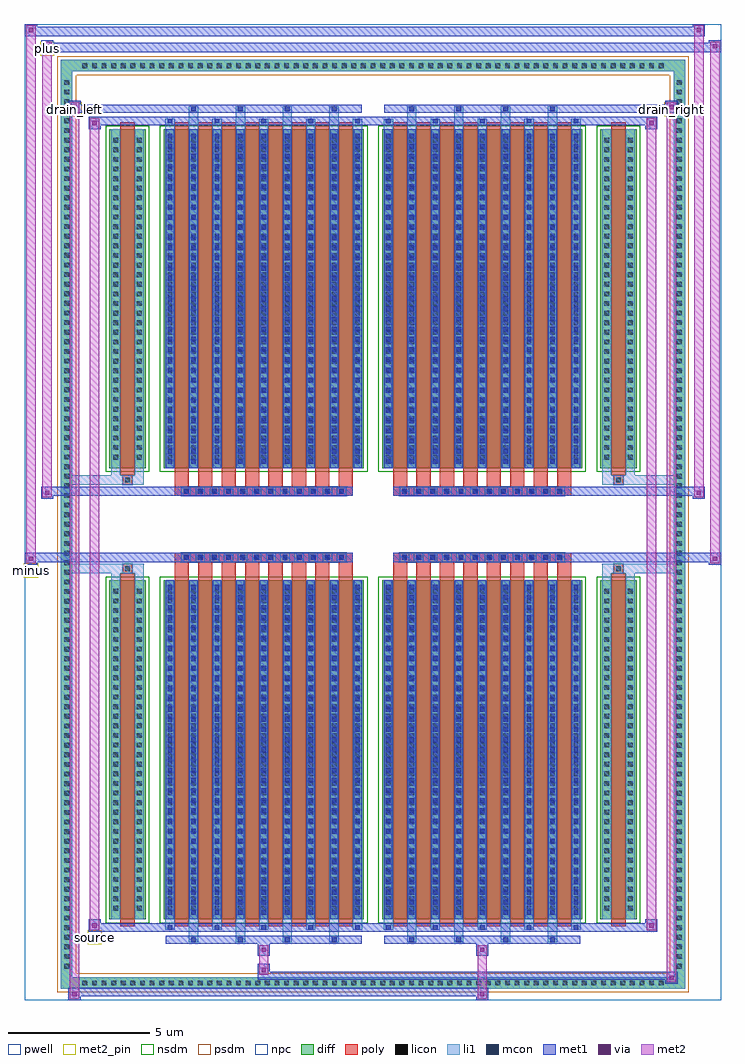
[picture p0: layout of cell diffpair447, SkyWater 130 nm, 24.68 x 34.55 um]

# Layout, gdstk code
import gdstk
lib = gdstk.Library(unit=1e-6, precision=5e-09)
def R(c, l, rs):  # rectangles x0, y0, x1, y1
    for r in rs: c.add(gdstk.rectangle(r[:2], r[2:], *l))
def A(c, l, x, y, w, h, nx, ny, dx, dy):  # array of equal rectangles
    R(c, l, [(x+i*dx, y+j*dy, x+i*dx+w, y+j*dy+h) for i in range(nx) for j in range(ny)])
def P(c, l, *ps):  # polygons
    for p in ps: c.add(gdstk.Polygon(p, *l))
pwell = (64, 44)
diff = (65, 20)
poly = (66, 20)
licon = (66, 44)
li1 = (67, 20)
mcon = (67, 44)
met1 = (68, 20)
via = (68, 44)
met2_pin = (69, 16)
met2 = (69, 20)
nsdm = (93, 44)
psdm = (94, 20)
npc = (95, 20)

diffpair447 = lib.new_cell('diffpair447')
R(diffpair447, pwell, [(-12.32,-16.84,12.32,17.71), (-9.64,-15.03,-0.01,-0.805), (0.01,-15.03,9.64,-0.805), (-9.64,0.805,-0.01,15.03), (0.01,0.805,9.64,15.03)])
A(diffpair447, diff, -10.405, -16.44, 0.41, 0.41, 61, 2, 0.34, 32.47)
A(diffpair447, diff, -11.05, -15.845, 0.41, 0.41, 1, 93, 0, 0.34)
A(diffpair447, diff, 10.64, -15.845, 0.41, 0.41, 1, 93, 0, 0.34)
R(diffpair447, diff, [(-10.405,-16.44,10.405,-16.03), (-11.05,-15.845,-10.64,15.845), (10.64,-15.845,11.05,15.845), (-9.33,-13.985,-8.05,-1.985), (-7.41,-13.985,-0.32,-1.985), (0.32,-13.985,7.41,-1.985), (8.05,-13.985,9.33,-1.985), (-9.33,1.985,-8.05,13.985), (-7.41,1.985,-0.32,13.985), (0.32,1.985,7.41,13.985), (8.05,1.985,9.33,13.985), (-10.405,16.03,10.405,16.44)])
P(diffpair447, diff, [(11.05,16.44),(-11.05,16.44),(-11.05,-16.03),(-10.64,-16.03),(-10.64,16.03),(10.64,16.03),(10.64,-16.03),(-10.64,-16.03),(-11.05,-16.03),(-11.05,-16.44),(11.05,-16.44)])
A(diffpair447, poly, -7.02, -14.235, 0.5, 12.5, 8, 2, 0.83, 15.97)
A(diffpair447, poly, 0.71, -14.235, 0.5, 12.5, 8, 2, 0.83, 15.97)
A(diffpair447, poly, -7.02, -1.735, 0.5, 0.4, 8, 2, 0.83, 3.07)
A(diffpair447, poly, 0.71, -1.735, 0.5, 0.4, 8, 2, 0.83, 3.07)
A(diffpair447, poly, -6.78, -1.335, 0.33, 0.33, 12, 2, 0.5, 2.34)
A(diffpair447, poly, 0.95, -1.335, 0.33, 0.33, 12, 2, 0.5, 2.34)
R(diffpair447, poly, [(-8.94,-14.235,-8.44,-1.735), (8.44,-14.235,8.94,-1.735), (-8.855,-1.735,-8.525,-1.405), (-8.855,-1.735,-8.525,-1.405), (8.525,-1.735,8.855,-1.405), (8.525,-1.735,8.855,-1.405), (-7.02,-1.335,-0.71,-1.005), (0.71,-1.335,7.02,-1.005), (-7.02,1.005,-0.71,1.335), (0.71,1.005,7.02,1.335), (-8.855,1.405,-8.525,1.735), (-8.855,1.405,-8.525,1.735), (8.525,1.405,8.855,1.735), (8.525,1.405,8.855,1.735), (-8.94,1.735,-8.44,14.235), (8.44,1.735,8.94,14.235)])
A(diffpair447, licon, -10.285, -16.32, 0.17, 0.17, 61, 2, 0.34, 32.47)
A(diffpair447, licon, -10.93, -15.725, 0.17, 0.17, 1, 93, 0, 0.34)
A(diffpair447, licon, 10.76, -15.725, 0.17, 0.17, 1, 93, 0, 0.34)
A(diffpair447, licon, -9.19, -13.68, 0.17, 0.17, 1, 34, 0, 0.34)
A(diffpair447, licon, -8.36, -13.68, 0.17, 0.17, 1, 34, 0, 0.34)
A(diffpair447, licon, -7.27, -13.68, 0.17, 0.17, 9, 34, 0.83, 0.34)
A(diffpair447, licon, 0.46, -13.68, 0.17, 0.17, 9, 34, 0.83, 0.34)
A(diffpair447, licon, 8.19, -13.68, 0.17, 0.17, 1, 34, 0, 0.34)
A(diffpair447, licon, 9.02, -13.68, 0.17, 0.17, 1, 34, 0, 0.34)
A(diffpair447, licon, -6.7, -1.255, 0.17, 0.17, 12, 2, 0.5, 2.34)
A(diffpair447, licon, 1.03, -1.255, 0.17, 0.17, 12, 2, 0.5, 2.34)
A(diffpair447, licon, -9.19, 2.29, 0.17, 0.17, 1, 34, 0, 0.34)
A(diffpair447, licon, -8.36, 2.29, 0.17, 0.17, 1, 34, 0, 0.34)
A(diffpair447, licon, -7.27, 2.29, 0.17, 0.17, 9, 34, 0.83, 0.34)
A(diffpair447, licon, 0.46, 2.29, 0.17, 0.17, 9, 34, 0.83, 0.34)
A(diffpair447, licon, 8.19, 2.29, 0.17, 0.17, 1, 34, 0, 0.34)
A(diffpair447, licon, 9.02, 2.29, 0.17, 0.17, 1, 34, 0, 0.34)
R(diffpair447, licon, [(-8.775,-1.655,-8.605,-1.485), (8.605,-1.655,8.775,-1.485), (-8.775,1.485,-8.605,1.655), (8.605,1.485,8.775,1.655)])
A(diffpair447, li1, -10.365, -16.4, 0.33, 0.33, 61, 2, 0.34, 32.47)
A(diffpair447, li1, -11.01, -15.805, 0.33, 0.33, 1, 93, 0, 0.34)
A(diffpair447, li1, 10.68, -15.805, 0.33, 0.33, 1, 93, 0, 0.34)
A(diffpair447, li1, -6.52, -14.79, 0.33, 0.805, 4, 2, 1.66, 28.775)
A(diffpair447, li1, -6.44, -14.79, 0.17, 0.17, 4, 2, 1.66, 29.41)
A(diffpair447, li1, 1.21, -14.79, 0.33, 0.805, 4, 2, 1.66, 28.775)
A(diffpair447, li1, 1.29, -14.79, 0.17, 0.17, 4, 2, 1.66, 29.41)
A(diffpair447, li1, -7.35, -14.36, 0.33, 0.375, 5, 2, 1.66, 28.345)
A(diffpair447, li1, -7.27, -14.36, 0.17, 0.17, 5, 2, 1.66, 28.55)
A(diffpair447, li1, 0.38, -14.36, 0.33, 0.375, 5, 2, 1.66, 28.345)
A(diffpair447, li1, 0.46, -14.36, 0.17, 0.17, 5, 2, 1.66, 28.55)
A(diffpair447, li1, -7.35, -13.985, 0.33, 12, 9, 2, 0.83, 15.97)
A(diffpair447, li1, 0.38, -13.985, 0.33, 12, 9, 2, 0.83, 15.97)
A(diffpair447, li1, -7.27, -13.83, 0.17, 0.17, 9, 33, 0.83, 0.36)
A(diffpair447, li1, -7.27, -13.83, 0.17, 11.69, 9, 2, 0.83, 15.97)
A(diffpair447, li1, 0.46, -13.83, 0.17, 0.17, 9, 33, 0.83, 0.36)
A(diffpair447, li1, 0.46, -13.83, 0.17, 11.69, 9, 2, 0.83, 15.97)
A(diffpair447, li1, -9.27, -13.76, 0.33, 0.33, 1, 34, 0, 0.34)
A(diffpair447, li1, -8.44, -13.76, 0.33, 0.33, 1, 34, 0, 0.34)
A(diffpair447, li1, -7.35, -13.76, 0.33, 0.33, 9, 34, 0.83, 0.34)
A(diffpair447, li1, 0.38, -13.76, 0.33, 0.33, 9, 34, 0.83, 0.34)
A(diffpair447, li1, 8.11, -13.76, 0.33, 0.33, 1, 34, 0, 0.34)
A(diffpair447, li1, 8.94, -13.76, 0.33, 0.33, 1, 34, 0, 0.34)
A(diffpair447, li1, -6.78, -1.335, 0.33, 0.33, 12, 2, 0.5, 2.34)
A(diffpair447, li1, 0.95, -1.335, 0.33, 0.33, 12, 2, 0.5, 2.34)
A(diffpair447, li1, -7.27, 2.14, 0.17, 0.17, 9, 33, 0.83, 0.36)
A(diffpair447, li1, 0.46, 2.14, 0.17, 0.17, 9, 33, 0.83, 0.36)
A(diffpair447, li1, -9.27, 2.21, 0.33, 0.33, 1, 34, 0, 0.34)
A(diffpair447, li1, -8.44, 2.21, 0.33, 0.33, 1, 34, 0, 0.34)
A(diffpair447, li1, -7.35, 2.21, 0.33, 0.33, 9, 34, 0.83, 0.34)
A(diffpair447, li1, 0.38, 2.21, 0.33, 0.33, 9, 34, 0.83, 0.34)
A(diffpair447, li1, 8.11, 2.21, 0.33, 0.33, 1, 34, 0, 0.34)
A(diffpair447, li1, 8.94, 2.21, 0.33, 0.33, 1, 34, 0, 0.34)
R(diffpair447, li1, [(-11.05,-16.44,-10.64,-16.03), (-11.05,-16.44,-10.64,-16.03), (-10.64,-16.44,10.64,-16.03), (10.64,-16.44,11.05,-16.03), (10.64,-16.44,11.05,-16.03), (-11.05,-16.03,-10.64,16.03), (10.64,-16.03,11.05,16.03), (-9.27,-13.985,-8.94,-1.985), (-8.44,-13.985,-8.11,-1.985), (8.11,-13.985,8.44,-1.985), (8.94,-13.985,9.27,-1.985), (-9.27,-1.985,-8.94,-1.405), (-8.44,-1.985,-8.11,-1.405), (8.11,-1.985,8.44,-1.405), (8.94,-1.985,9.27,-1.405), (-11.05,-1.735,-8.855,-1.405), (-9.27,-1.735,-8.855,-1.405), (-8.855,-1.735,-8.525,-1.405), (-8.525,-1.735,-8.11,-1.405), (8.11,-1.735,8.525,-1.405), (8.525,-1.735,8.855,-1.405), (8.525,-1.735,11.05,-1.405), (8.855,-1.735,9.27,-1.405), (-11.05,1.405,-8.855,1.735), (-9.27,1.405,-8.855,1.735), (-9.27,1.405,-8.94,1.985), (-8.855,1.405,-8.525,1.735), (-8.525,1.405,-8.11,1.735), (-8.44,1.405,-8.11,1.985), (8.11,1.405,8.525,1.735), (8.11,1.405,8.44,1.985), (8.525,1.405,8.855,1.735), (8.525,1.405,11.05,1.735), (8.855,1.405,9.27,1.735), (8.94,1.405,9.27,1.985), (-9.27,1.985,-8.94,13.985), (-8.44,1.985,-8.11,13.985), (8.11,1.985,8.44,13.985), (8.94,1.985,9.27,13.985), (-11.05,16.03,-10.64,16.44), (-11.05,16.03,-10.64,16.44), (-10.64,16.03,10.64,16.44), (10.64,16.03,11.05,16.44), (10.64,16.03,11.05,16.44)])
A(diffpair447, mcon, -6.44, -14.79, 0.17, 0.17, 4, 2, 1.66, 29.41)
A(diffpair447, mcon, 1.29, -14.79, 0.17, 0.17, 4, 2, 1.66, 29.41)
A(diffpair447, mcon, -7.27, -14.36, 0.17, 0.17, 5, 2, 1.66, 28.55)
A(diffpair447, mcon, 0.46, -14.36, 0.17, 0.17, 5, 2, 1.66, 28.55)
A(diffpair447, mcon, -7.27, -13.83, 0.17, 0.17, 9, 33, 0.83, 0.36)
A(diffpair447, mcon, 0.46, -13.83, 0.17, 0.17, 9, 33, 0.83, 0.36)
A(diffpair447, mcon, -6.7, -1.255, 0.17, 0.17, 12, 2, 0.5, 2.34)
A(diffpair447, mcon, 1.03, -1.255, 0.17, 0.17, 12, 2, 0.5, 2.34)
A(diffpair447, mcon, -7.27, 2.14, 0.17, 0.17, 9, 33, 0.83, 0.36)
A(diffpair447, mcon, 0.46, 2.14, 0.17, 0.17, 9, 33, 0.83, 0.36)
A(diffpair447, met1, -6.5, -14.85, 0.29, 0.29, 4, 2, 1.66, 29.41)
A(diffpair447, met1, 1.23, -14.85, 0.29, 0.29, 4, 2, 1.66, 29.41)
A(diffpair447, met1, -7.33, -14.42, 0.29, 0.29, 5, 2, 1.66, 28.55)
A(diffpair447, met1, 0.4, -14.42, 0.29, 0.29, 5, 2, 1.66, 28.55)
A(diffpair447, met1, -7.33, -13.985, 0.29, 12, 9, 2, 0.83, 15.97)
A(diffpair447, met1, 0.4, -13.985, 0.29, 12, 9, 2, 0.83, 15.97)
A(diffpair447, met1, -7.33, -13.89, 0.29, 0.29, 9, 33, 0.83, 0.36)
A(diffpair447, met1, 0.4, -13.89, 0.29, 0.29, 9, 33, 0.83, 0.36)
A(diffpair447, met1, -6.76, -1.315, 0.29, 0.29, 12, 2, 0.5, 2.34)
A(diffpair447, met1, 0.97, -1.315, 0.29, 0.29, 12, 2, 0.5, 2.34)
A(diffpair447, met1, -7.33, 2.08, 0.29, 0.29, 9, 33, 0.83, 0.36)
A(diffpair447, met1, 0.4, 2.08, 0.29, 0.29, 9, 33, 0.83, 0.36)
R(diffpair447, met1, [(-10.78,-16.84,-10.35,-16.41), (3.65,-16.84,4.08,-16.41), (-10.78,-16.7,4.08,-16.41), (10.35,-16.27,10.78,-15.84), (-4.08,-16.13,10.78,-15.84), (-4.08,-15.99,-3.65,-15.56), (-4.08,-15.28,-3.65,-14.85), (3.65,-15.28,4.08,-14.85), (-7.33,-14.85,-0.4,-14.56), (0.4,-14.85,7.33,-14.56), (-10.07,-14.42,-9.64,-13.99), (-10.07,-14.42,-7.33,-14.13), (-7.33,-14.42,-0.4,-14.13), (-0.4,-14.42,0.4,-14.13), (0.4,-14.42,7.33,-14.13), (7.33,-14.42,10.07,-14.13), (9.64,-14.42,10.07,-13.99), (-12.32,-1.435,-11.89,-1.005), (11.89,-1.435,12.32,-1.005), (-12.32,-1.335,-0.71,-1.005), (-7.02,-1.335,-0.71,-1.005), (0.71,-1.335,7.02,-1.005), (0.71,-1.335,12.32,-1.005), (-11.75,0.905,-11.32,1.335), (11.32,0.905,11.75,1.335), (-11.75,1.005,-7.02,1.335), (-7.02,1.005,-0.71,1.335), (0.71,1.005,7.02,1.335), (7.02,1.005,11.75,1.335), (-10.07,13.99,-9.64,14.42), (9.64,13.99,10.07,14.42), (-10.07,14.13,-7.33,14.42), (-7.33,14.13,-0.4,14.42), (-0.4,14.13,0.4,14.42), (0.4,14.13,7.33,14.42), (7.33,14.13,10.07,14.42), (-10.78,14.56,-10.35,14.99), (-10.78,14.56,-7.33,14.85), (-7.33,14.56,-0.4,14.85), (0.4,14.56,7.33,14.85), (7.33,14.56,10.78,14.85), (10.35,14.56,10.78,14.99), (-11.75,16.71,-11.32,17.14), (-11.75,16.71,-9.64,17.04), (-9.64,16.71,9.64,17.04), (9.64,16.71,12.32,17.04), (11.89,16.71,12.32,17.14), (-12.32,17.28,-11.89,17.71), (-12.32,17.28,-9.64,17.61), (-9.64,17.28,9.64,17.61), (9.64,17.28,11.75,17.61), (11.32,17.28,11.75,17.71)])
R(diffpair447, via, [(-10.64,-16.7,-10.49,-16.55), (3.79,-16.7,3.94,-16.55), (10.49,-16.13,10.64,-15.98), (-3.94,-15.85,-3.79,-15.7), (-3.94,-15.14,-3.79,-14.99), (3.79,-15.14,3.94,-14.99), (-9.93,-14.28,-9.78,-14.13), (9.78,-14.28,9.93,-14.13), (-12.18,-1.295,-12.03,-1.145), (12.03,-1.295,12.18,-1.145), (-11.61,1.045,-11.46,1.195), (11.46,1.045,11.61,1.195), (-9.93,14.13,-9.78,14.28), (9.78,14.13,9.93,14.28), (-10.64,14.7,-10.49,14.85), (10.49,14.7,10.64,14.85), (-11.61,16.85,-11.46,17), (12.03,16.85,12.18,17), (-12.18,17.42,-12.03,17.57), (11.46,17.42,11.61,17.57)])
R(diffpair447, met2_pin, [(-10.105,-14.87,-9.605,-14.37), (-12.355,-1.885,-11.855,-1.385), (-10.815,14.44,-10.315,14.94), (10.315,14.44,10.815,14.94), (-11.785,16.59,-11.285,17.09)])
R(diffpair447, met2, [(-10.73,-16.79,-10.4,-16.46), (-10.73,-16.79,-10.4,14.94), (3.7,-16.79,4.03,-16.46), (3.7,-16.46,4.03,-15.23), (10.4,-16.22,10.73,-15.89), (10.4,-16.22,10.73,14.94), (-4.03,-15.94,-3.7,-15.61), (-4.03,-15.61,-3.7,-15.23), (-4.03,-15.23,-3.7,-14.9), (3.7,-15.23,4.03,-14.9), (-10.02,-14.37,-9.69,-14.04), (-10.02,-14.37,-9.69,14.37), (9.69,-14.37,10.02,-14.04), (9.69,-14.37,10.02,14.37), (-12.27,-1.385,-11.94,-1.055), (-12.27,-1.385,-11.94,17.66), (11.94,-1.385,12.27,-1.055), (11.94,-1.385,12.27,17.09), (-11.7,0.955,-11.37,1.285), (-11.7,0.955,-11.37,17.09), (11.37,0.955,11.7,1.285), (11.37,0.955,11.7,17.66), (-10.02,14.04,-9.69,14.37), (9.69,14.04,10.02,14.37), (-10.73,14.61,-10.4,14.94), (10.4,14.61,10.73,14.94), (-11.7,16.76,-11.37,17.09), (11.94,16.76,12.27,17.09), (-12.27,17.33,-11.94,17.66), (11.37,17.33,11.7,17.66)])
P(diffpair447, met2, [(12.27,-1.385),(12.27,-1.385),(12.27,-1.055),(12.27,-1.055)],
  [(12.27,16.76),(12.27,16.76),(12.27,17.09),(12.27,17.09)],
  [(-11.94,-1.385),(-11.94,-1.385),(-11.94,-1.055),(-11.94,-1.055)],
  [(-11.94,17.33),(-11.94,17.33),(-11.94,17.66),(-11.94,17.66)],
  [(11.7,0.955),(11.7,0.955),(11.7,1.285),(11.7,1.285)],
  [(11.7,17.33),(11.7,17.33),(11.7,17.66),(11.7,17.66)],
  [(-11.37,0.955),(-11.37,0.955),(-11.37,1.285),(-11.37,1.285)],
  [(-11.37,16.76),(-11.37,16.76),(-11.37,17.09),(-11.37,17.09)],
  [(-10.4,-16.79),(-10.4,-16.79),(-10.4,-16.46),(-10.4,-16.46)],
  [(-10.4,14.61),(-10.4,14.61),(-10.4,14.94),(-10.4,14.94)],
  [(10.73,-16.22),(10.73,-16.22),(10.73,-15.89),(10.73,-15.89)],
  [(10.73,14.61),(10.73,14.61),(10.73,14.94),(10.73,14.94)],
  [(-9.69,-14.37),(-9.69,-14.37),(-9.69,-14.04),(-9.69,-14.04)],
  [(-9.69,14.04),(-9.69,14.04),(-9.69,14.37),(-9.69,14.37)],
  [(10.02,-14.37),(10.02,-14.37),(10.02,-14.04),(10.02,-14.04)],
  [(10.02,14.04),(10.02,14.04),(10.02,14.37),(10.02,14.37)])
R(diffpair447, nsdm, [(-9.46,-14.115,-7.92,-1.855), (-7.54,-14.115,-0.19,-1.855), (0.19,-14.115,7.54,-1.855), (7.92,-14.115,9.46,-1.855), (-9.46,1.855,-7.92,14.115), (-7.54,1.855,-0.19,14.115), (0.19,1.855,7.54,14.115), (7.92,1.855,9.46,14.115)])
P(diffpair447, psdm, [(11.18,16.57),(-11.18,16.57),(-11.18,-15.9),(-10.51,-15.9),(-10.51,15.9),(10.51,15.9),(10.51,-15.9),(-10.51,-15.9),(-11.18,-15.9),(-11.18,-16.57),(11.18,-16.57)])
A(diffpair447, npc, -6.8, -1.355, 0.37, 0.37, 12, 2, 0.5, 2.34)
A(diffpair447, npc, 0.93, -1.355, 0.37, 0.37, 12, 2, 0.5, 2.34)
R(diffpair447, npc, [(-8.875,-1.755,-8.505,-1.385), (8.505,-1.755,8.875,-1.385), (-6.8,-1.355,-5.93,-0.985), (-6.8,-1.355,-5.93,-0.985), (-6.3,-1.355,-5.43,-0.985), (-6.3,-1.355,-5.43,-0.985), (-5.8,-1.355,-4.93,-0.985), (-5.8,-1.355,-4.93,-0.985), (-5.3,-1.355,-4.43,-0.985), (-5.3,-1.355,-4.43,-0.985), (-4.8,-1.355,-3.93,-0.985), (-4.8,-1.355,-3.93,-0.985), (-4.3,-1.355,-3.43,-0.985), (-4.3,-1.355,-3.43,-0.985), (-3.8,-1.355,-2.93,-0.985), (-3.8,-1.355,-2.93,-0.985), (-3.3,-1.355,-2.43,-0.985), (-3.3,-1.355,-2.43,-0.985), (-2.8,-1.355,-1.93,-0.985), (-2.8,-1.355,-1.93,-0.985), (-2.3,-1.355,-1.43,-0.985), (-2.3,-1.355,-1.43,-0.985), (-1.8,-1.355,-0.93,-0.985), (-1.8,-1.355,-0.93,-0.985), (0.93,-1.355,1.8,-0.985), (0.93,-1.355,1.8,-0.985), (1.43,-1.355,2.3,-0.985), (1.43,-1.355,2.3,-0.985), (1.93,-1.355,2.8,-0.985), (1.93,-1.355,2.8,-0.985), (2.43,-1.355,3.3,-0.985), (2.43,-1.355,3.3,-0.985), (2.93,-1.355,3.8,-0.985), (2.93,-1.355,3.8,-0.985), (3.43,-1.355,4.3,-0.985), (3.43,-1.355,4.3,-0.985), (3.93,-1.355,4.8,-0.985), (3.93,-1.355,4.8,-0.985), (4.43,-1.355,5.3,-0.985), (4.43,-1.355,5.3,-0.985), (4.93,-1.355,5.8,-0.985), (4.93,-1.355,5.8,-0.985), (5.43,-1.355,6.3,-0.985), (5.43,-1.355,6.3,-0.985), (5.93,-1.355,6.8,-0.985), (5.93,-1.355,6.8,-0.985), (-6.8,0.985,-5.93,1.355), (-6.8,0.985,-5.93,1.355), (-6.3,0.985,-5.43,1.355), (-6.3,0.985,-5.43,1.355), (-5.8,0.985,-4.93,1.355), (-5.8,0.985,-4.93,1.355), (-5.3,0.985,-4.43,1.355), (-5.3,0.985,-4.43,1.355), (-4.8,0.985,-3.93,1.355), (-4.8,0.985,-3.93,1.355), (-4.3,0.985,-3.43,1.355), (-4.3,0.985,-3.43,1.355), (-3.8,0.985,-2.93,1.355), (-3.8,0.985,-2.93,1.355), (-3.3,0.985,-2.43,1.355), (-3.3,0.985,-2.43,1.355), (-2.8,0.985,-1.93,1.355), (-2.8,0.985,-1.93,1.355), (-2.3,0.985,-1.43,1.355), (-2.3,0.985,-1.43,1.355), (-1.8,0.985,-0.93,1.355), (-1.8,0.985,-0.93,1.355), (0.93,0.985,1.8,1.355), (0.93,0.985,1.8,1.355), (1.43,0.985,2.3,1.355), (1.43,0.985,2.3,1.355), (1.93,0.985,2.8,1.355), (1.93,0.985,2.8,1.355), (2.43,0.985,3.3,1.355), (2.43,0.985,3.3,1.355), (2.93,0.985,3.8,1.355), (2.93,0.985,3.8,1.355), (3.43,0.985,4.3,1.355), (3.43,0.985,4.3,1.355), (3.93,0.985,4.8,1.355), (3.93,0.985,4.8,1.355), (4.43,0.985,5.3,1.355), (4.43,0.985,5.3,1.355), (4.93,0.985,5.8,1.355), (4.93,0.985,5.8,1.355), (5.43,0.985,6.3,1.355), (5.43,0.985,6.3,1.355), (5.93,0.985,6.8,1.355), (5.93,0.985,6.8,1.355), (-8.875,1.385,-8.505,1.755), (8.505,1.385,8.875,1.755)])
diffpair447.add(gdstk.Label('minus', (-12.105,-1.635), layer=69, texttype=5))
diffpair447.add(gdstk.Label('drain_right', (10.565,14.69), layer=69, texttype=5))
diffpair447.add(gdstk.Label('drain_left', (-10.565,14.69), layer=69, texttype=5))
diffpair447.add(gdstk.Label('source', (-9.855,-14.62), layer=69, texttype=5))
diffpair447.add(gdstk.Label('plus', (-11.535,16.84), layer=69, texttype=5))

lib.write_gds('diffpair447.gds')
